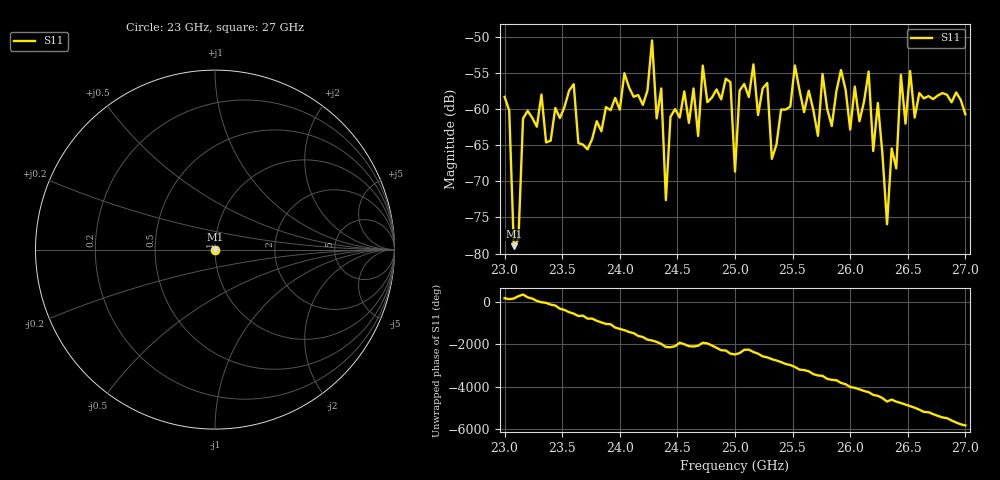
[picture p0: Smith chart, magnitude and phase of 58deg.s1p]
#  HZ  S  RI  R  50.00
! Rohde & Schwarz ZVA40 4Ports - Version 3.90 - 1145.1110k42 SN: 100403
! Date: 2023-09-26 11:13:07
! Measurement: S12
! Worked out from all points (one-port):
!   101 points, 23 GHz to 27 GHz, reference 50 ohm
!   lowest |S11| = -79.0 dB at 23.08 GHz (marker M1), VSWR 1.00, Z = 50 + j0.00401 ohm
!   |S11| at or under -10 dB: start of sweep to end of sweep
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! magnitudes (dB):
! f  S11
! 23 GHz  -58.3
! 23.04 GHz  -60.2
! 23.08 GHz  -79.0
! 23.12 GHz  -78.0
! 23.16 GHz  -61.3
! 23.52 GHz  -59.7
! 24 GHz  -60.1
! 24.28 GHz  -50.5
! 24.32 GHz  -61.3
! 24.36 GHz  -57.2
! 24.4 GHz  -72.6
! 24.44 GHz  -61.1
! 24.52 GHz  -61.2
! 24.96 GHz  -56.3
! 25 GHz  -68.7
! 25.04 GHz  -57.5
! 25.16 GHz  -53.8
! 25.28 GHz  -56.4
! 25.32 GHz  -66.9
! 25.52 GHz  -54.0
! 25.92 GHz  -54.6
! 26 GHz  -62.9
! 26.16 GHz  -54.8
! 26.32 GHz  -75.9
! 26.44 GHz  -55.3
! 26.48 GHz  -62.0
! 26.52 GHz  -54.7
! 27 GHz  -60.7
